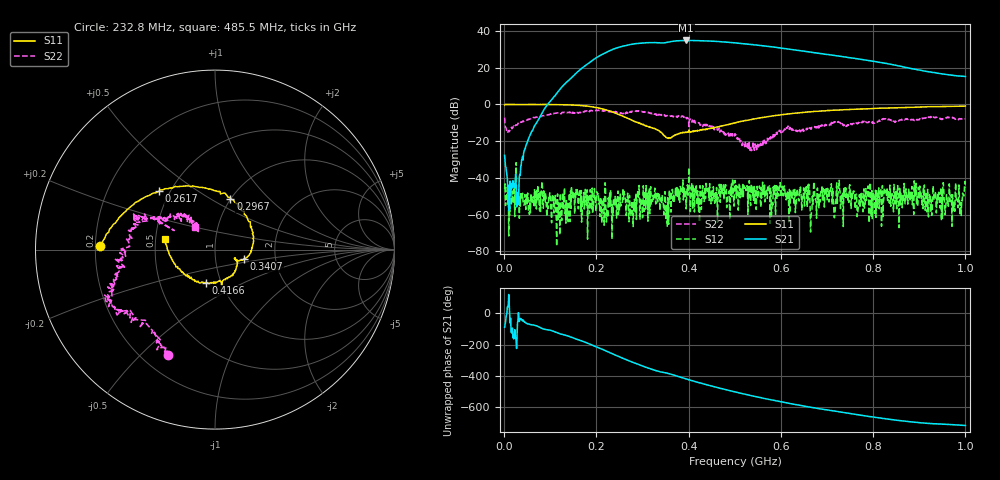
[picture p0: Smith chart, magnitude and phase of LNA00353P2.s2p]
! Created with skrf 1.9.0 (http://scikit-rf.org).
# Hz S RI R 50.0
!freq ReS11 ImS11 ReS21 ImS21 ReS12 ImS12 ReS22 ImS22
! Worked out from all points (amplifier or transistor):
!   1001 points, 1 MHz to 1 GHz, reference 50 ohm
!   highest |S21| = 34.9 dB at 394.6 MHz (marker M1)
!   |S21| within 3 dB of that: 259.9 MHz to 564.1 MHz (304.2 MHz wide, 73.8 % of centre)
!   unconditionally stable (mu >= 1): start of sweep to 72.43 MHz; 219.1 MHz to 387.5 MHz; 401 MHz to end of sweep (the widest 3 of 29)
!   at 166.8 MHz: K = 1.54, MAG = 28.8 dB, |S12| = -46.9 dB
!   at 500.5 MHz: K = 1.32, MAG = 34.1 dB, |S12| = -41.4 dB
!   at 1 GHz: K = 2.07, MAG = 24.4 dB, |S12| = -45.3 dB
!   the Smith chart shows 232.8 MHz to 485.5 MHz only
!   S11 on the Smith chart (normalised r, x): 232.8 MHz: 0.22, +0.01; 261.7 MHz: 0.44, +0.36; 296.7 MHz: 1.00, +0.62; 340.7 MHz: 1.38, -0.15; 416.6 MHz: 0.85, -0.33; 485.5 MHz: 0.56, +0.07
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1000000  0.9739 0.0107  0.000613 -0.0409  -0.00376 -0.0033  0.3315 0.2848
1.08892e8  0.5106 -0.8532  -0.7776 -1.479  0.00173 0.000474  0.4402 -0.3635
1.67833e8  -0.2536 -0.8957  -9.591 -0.5981  -0.00012 -0.000607  0.0571 -0.6283
2.06794e8  -0.6722 -0.4162  -15.61 14.43  0.00203 0.00116  -0.157 -0.6631
2.32768e8  -0.639 0.0197  -7.068 29.9  -0.00173 -0.000488  -0.2607 -0.5888
2.61739e8  -0.3126 0.3253  15.55 36.58  0.00317 -0.00134  -0.4222 -0.4347
2.96704e8  0.0858 0.2821  41.68 21.13  -0.00194 -0.00116  -0.5882 -0.2643
3.16684e8  0.2039 0.1275  48.25 4.699  0.000207 0.00257  -0.5477 -0.164
3.34666e8  0.1959 -0.0204  47.09 -9.238  -0.00243 0.0012  -0.5318 -0.0586
3.4066e8  0.1616 -0.0513  45.87 -12.59  -0.00182 -0.00155  -0.5305 -0.0166
3.68632e8  0.1249 -0.0687  43.78 -30.7  -0.00201 0.000785  -0.4292 0.1379
3.94606e8  0.0644 -0.1588  28.2 -47.91  -0.00133 0.000519  -0.4123 0.1559
4.16584e8  -0.0492 -0.1852  11.14 -54.14  0.005 0.00341  -0.2753 0.1567
4.46554e8  -0.1794 -0.1269  -11.42 -52.33  0.00289 -7e-05  -0.1704 0.1987
4.85515e8  -0.2776 0.0608  -32.84 -37.26  0.0029 0.00159  -0.1098 0.1277
5.005e8  -0.2752 0.1459  -38 -29.44  0.00413 -0.0074  -0.1351 0.0859
5.4046e8  -0.1969 0.3491  -41.69 -8.056  0.00222 -0.001  -0.0661 -0.000954
5.88412e8  0.0163 0.4977  -34.13 11.8  0.000613 0.000797  -0.121 -0.0741
6.67333e8  0.3966 0.4969  -12.46 23.06  4.75e-05 -0.00134  -0.2356 -0.0319
7.53247e8  0.6762 0.2863  3.723 18.16  -0.00342 -0.00189  -0.2881 0.026
8.34166e8  0.7993 0.0227  9.205 8.772  -0.00316 -0.000838  -0.3838 0.0483
1e9  0.7326 -0.5279  5.806 0.3869  0.00119 0.00528  -0.2252 0.3463
